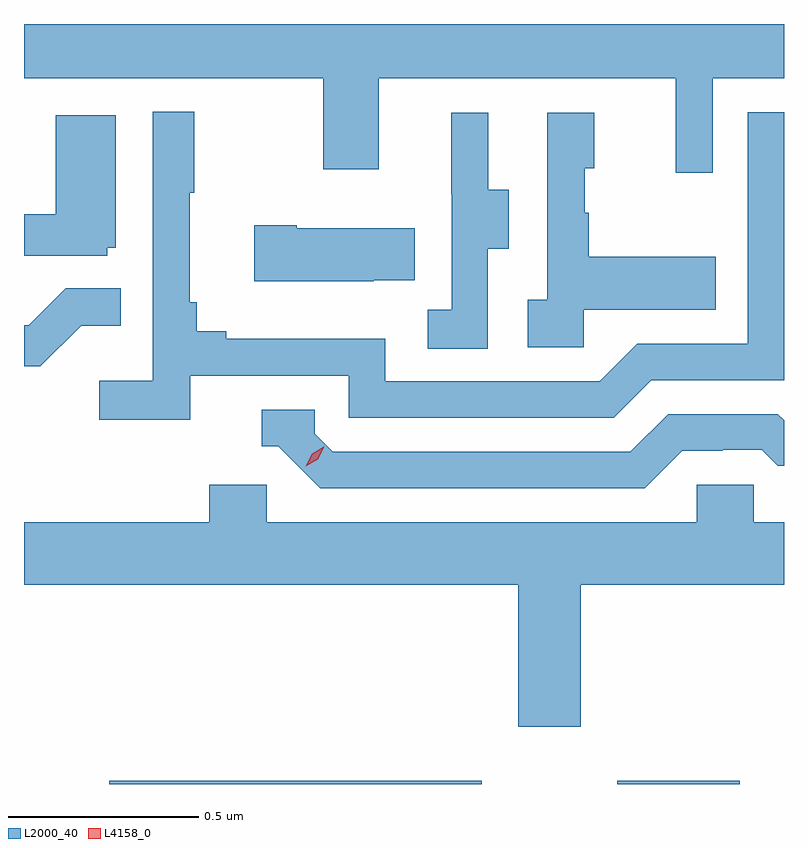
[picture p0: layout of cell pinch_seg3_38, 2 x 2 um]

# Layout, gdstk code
import gdstk
lib = gdstk.Library(unit=1e-6, precision=1e-09)
def R(c, l, rs):  # rectangles x0, y0, x1, y1
    for r in rs: c.add(gdstk.rectangle(r[:2], r[2:], *l))
def P(c, l, *ps):  # polygons
    for p in ps: c.add(gdstk.Polygon(p, *l))
L2000_40 = (2000, 40)
L4158_0 = (4158, 0)

pinch_seg3_38 = lib.new_cell('pinch_seg3_38')
R(pinch_seg3_38, L2000_40, [(1087.007,732.359,1087.988,732.368), (1088.344,732.359,1088.666,732.368)])
P(pinch_seg3_38, L2000_40, [(1088.595,734.216),(1088.783,734.216),(1088.783,734.359),(1086.783,734.359),(1086.783,734.216),(1087.57,734.216),(1087.57,733.977),(1087.717,733.977),(1087.717,734.216),(1088.498,734.216),(1088.498,733.968),(1088.595,733.968)],
  [(1087.22,733.434),(1087.638,733.434),(1087.638,733.323),(1088.335,733.323),(1088.434,733.422),(1088.783,733.422),(1088.783,734.127),(1088.688,734.127),(1088.688,733.518),(1088.397,733.518),(1088.298,733.419),(1087.734,733.419),(1087.734,733.531),(1087.315,733.531),(1087.315,733.55),(1087.238,733.55),(1087.238,733.627),(1087.219,733.627),(1087.219,733.915),(1087.231,733.915),(1087.231,734.128),(1087.122,734.128),(1087.122,733.42),(1086.981,733.42),(1086.981,733.318),(1087.22,733.318)],
  [(1088.004,733.768),(1088.059,733.768),(1088.059,733.923),(1088.005,733.923),(1088.005,734.125),(1087.907,734.125),(1087.907,733.911),(1087.908,733.911),(1087.908,733.607),(1087.845,733.607),(1087.845,733.504),(1088.004,733.504)],
  [(1088.256,733.607),(1088.603,733.607),(1088.603,733.747),(1088.269,733.747),(1088.269,733.862),(1088.259,733.862),(1088.259,733.98),(1088.284,733.98),(1088.284,734.125),(1088.16,734.125),(1088.16,733.634),(1088.109,733.634),(1088.109,733.509),(1088.256,733.509)],
  [(1087.002,733.77),(1087.024,733.77),(1087.024,734.119),(1086.866,734.119),(1086.866,733.858),(1086.783,733.858),(1086.783,733.749),(1087.002,733.749)],
  [(1087.703,733.685),(1087.811,733.685),(1087.811,733.822),(1087.501,733.822),(1087.501,733.83),(1087.389,733.83),(1087.389,733.682),(1087.703,733.682)],
  [(1086.933,733.565),(1087.037,733.565),(1087.037,733.664),(1086.893,733.664),(1086.795,733.566),(1086.783,733.566),(1086.783,733.458),(1086.826,733.458)],
  [(1088.515,733.236),(1088.622,733.236),(1088.622,733.239),(1088.725,733.239),(1088.767,733.197),(1088.783,733.197),(1088.783,733.316),(1088.767,733.332),(1088.478,733.332),(1088.379,733.233),(1087.596,733.233),(1087.548,733.281),(1087.548,733.344),(1087.409,733.344),(1087.409,733.248),(1087.452,733.248),(1087.563,733.137),(1088.416,733.137)],
  [(1088.248,732.884),(1088.783,732.884),(1088.783,733.048),(1088.703,733.048),(1088.703,733.146),(1088.553,733.146),(1088.553,733.048),(1087.422,733.048),(1087.422,733.146),(1087.271,733.146),(1087.271,733.048),(1086.783,733.048),(1086.783,732.884),(1088.084,732.884),(1088.084,732.51),(1088.248,732.51)])
P(pinch_seg3_38, L4158_0, [(1087.524,733.195),(1087.524,733.195),(1087.541,733.228),(1087.572,733.246),(1087.573,733.246),(1087.573,733.246),(1087.556,733.214),(1087.525,733.195)])

lib.write_gds('pinch_seg3_38.gds')
